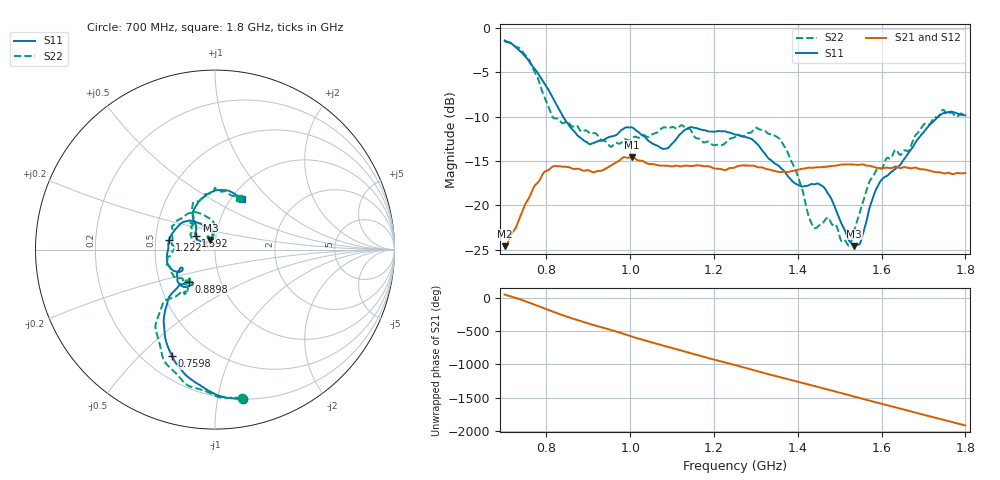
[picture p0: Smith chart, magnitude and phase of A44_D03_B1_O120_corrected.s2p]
! Created with skrf 1.9.0 (http://scikit-rf.org).
# Hz S RI R 50.0
!freq ReS11 ImS11 ReS21 ImS21 ReS12 ImS12 ReS22 ImS22
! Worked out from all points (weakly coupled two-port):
!   1601 points, 700 MHz to 1.8 GHz, reference 50 ohm
!   highest |S21| = -14.55 dB at 1.005 GHz (marker M1); lowest = -24.6 dB at 700.7 MHz (marker M2)
!   lowest |S11| = -24.6 dB at 1.535 GHz (marker M3), VSWR 1.13, Z = 47.2 + j5.03 ohm
!   |S11| at or under -10 dB: 839.5 MHz to 1.735 GHz (895.7 MHz wide, 69.6 % of centre)
!   |S22| runs from -24.6 to -1.5 dB; largest |S21 - S12| = 0.0036
!   S11 on the Smith chart (normalised r, x): 700 MHz: 0.20, -1.19; 759.8 MHz: 0.31, -0.63; 889.8 MHz: 0.70, -0.27; 1.222 GHz: 0.59, +0.07; 1.592 GHz: 0.80, +0.12; 1.8 GHz: 1.12, +0.71
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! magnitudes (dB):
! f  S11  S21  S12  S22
! 700 MHz  -1.4  -24.6  -24.4  -1.5
! 700.7 MHz  -1.4  -24.6  -24.3  -1.5
! 759.8 MHz  -3.9  -19.0  -18.9  -3.7
! 814.8 MHz  -7.9  -15.6  -15.7  -10.1
! 883.6 MHz  -12.5  -16.0  -15.9  -11.7
! 889.8 MHz  -12.7  -16.1  -16.0  -11.6
! 1.005 GHz  -11.2  -14.5  -14.7  -12.5
! 1.067 GHz  -13.3  -15.5  -15.4  -11.7
! 1.143 GHz  -11.2  -15.6  -15.6  -11.4
! 1.222 GHz  -11.6  -16.0  -16.0  -13.2
! 1.25 GHz  -12.0  -15.7  -15.7  -12.3
! 1.357 GHz  -15.7  -16.2  -16.2  -12.5
! 1.394 GHz  -17.6  -16.1  -16.1  -16.0
! 1.434 GHz  -17.6  -15.8  -15.7  -22.1
! 1.468 GHz  -18.4  -15.7  -15.6  -21.5
! 1.521 GHz  -23.9  -15.4  -15.4  -24.6
! 1.535 GHz  -24.6  -15.4  -15.4  -22.8
! 1.55 GHz  -24.1  -15.4  -15.4  -20.4
! 1.592 GHz  -17.7  -15.8  -15.8  -15.8
! 1.617 GHz  -16.5  -15.8  -15.8  -14.7
! 1.739 GHz  -9.9  -16.3  -16.3  -9.8
! 1.8 GHz  -9.9  -16.4  -16.4  -9.9
